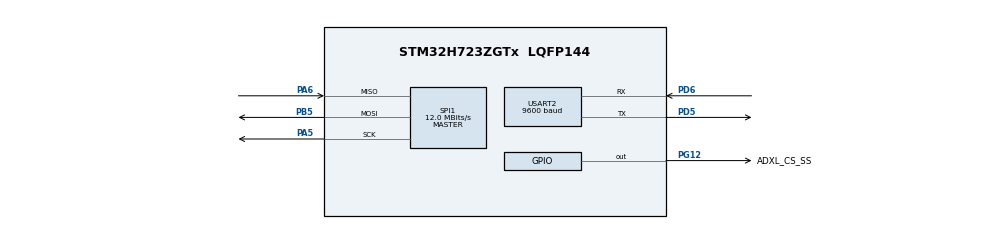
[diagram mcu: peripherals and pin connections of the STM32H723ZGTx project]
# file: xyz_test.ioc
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CORTEX_M7.default_mode_Activation=1
Mcu.Family=STM32H7
Mcu.Name=STM32H723ZGTx
Mcu.Package=LQFP144
NUCLEO-H723ZG.BUTTON=1
NUCLEO-H723ZG.LD1=true
NUCLEO-H723ZG.LD2=true
NUCLEO-H723ZG.LD3=true
NUCLEO-H723ZG.VCP=true
NVIC.EXTI15_10_IRQn=true\:0\:0\:false\:false\:true\:false\:true\:true
NVIC.PriorityGroup=NVIC_PRIORITYGROUP_4
PA13(JTMS/SWDIO).GPIO_Label=SWDIO
PA13(JTMS/SWDIO).Signal=DEBUG_JTMS-SWDIO
PA14(JTCK/SWCLK).GPIO_Label=SWCLK
PA14(JTCK/SWCLK).Signal=DEBUG_JTCK-SWCLK
PA5.Mode=Full_Duplex_Master
PA5.Signal=SPI1_SCK
PA6.Mode=Full_Duplex_Master
PA6.Signal=SPI1_MISO
PB5.Mode=Full_Duplex_Master
PB5.Signal=SPI1_MOSI
PC14-OSC32_IN.Signal=RCC_OSC32_IN
PC15-OSC32_OUT.Signal=RCC_OSC32_OUT
PD5.Mode=Asynchronous
PD5.Signal=USART2_TX
PD6.Mode=Asynchronous
PD6.Signal=USART2_RX
PD8.Signal=USART3_TX
PD9.Signal=USART3_RX
PG12.GPIO_Label=ADXL_CS_SS
PG12.PinState=GPIO_PIN_SET
PG12.Signal=GPIO_Output
ProjectManager.HeapSize=0x200
ProjectManager.StackSize=0x400
ProjectManager.TargetToolchain=CMake
RCC.ADCFreq_Value=608000000
RCC.APB1Freq_Value=48000000
RCC.APB2Freq_Value=48000000
RCC.APB3Freq_Value=48000000
RCC.APB4Freq_Value=48000000
RCC.CortexFreq_Value=192000000
RCC.D1PPRE=RCC_APB3_DIV2
RCC.D2PPRE1=RCC_APB1_DIV2
RCC.D2PPRE2=RCC_APB2_DIV2
RCC.D3PPRE=RCC_APB4_DIV2
RCC.DIVM1=4
RCC.DIVM2=1
RCC.DIVN1=12
RCC.DIVN2=19
RCC.DIVP1=1
RCC.DIVQ1=4
RCC.HCLKFreq_Value=96000000
RCC.HPRE=RCC_HCLK_DIV2
RCC.HSE_VALUE=8000000
RCC.PLLFRACN=0
RCC.SYSCLKFreq_VALUE=192000000
RCC.SYSCLKSource=RCC_SYSCLKSOURCE_PLLCLK
RCC.USBCLockSelection=RCC_USBCLKSOURCE_HSI48
RCC.USBFreq_Value=48000000
SPI1.BaudRatePrescaler=SPI_BAUDRATEPRESCALER_4
SPI1.CalculateBaudRate=12.0 MBits/s
SPI1.DataSize=SPI_DATASIZE_8BIT
SPI1.Direction=SPI_DIRECTION_2LINES
SPI1.Mode=SPI_MODE_MASTER
SPI1.VirtualType=VM_MASTER
USART2.BaudRate=9600
USART2.VirtualMode-Asynchronous=VM_ASYNC
VP_MEMORYMAP_VS_MEMORYMAP.Mode=CurAppReg
VP_NUCLEO-H723ZG_VS_BSP_COMMON.Mode=COMMON
board=NUCLEO-H723ZG

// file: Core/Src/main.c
/* USER CODE BEGIN Header */
/**
 ******************************************************************************
 * @file           : main.c
 * @brief          : Main program body
 ******************************************************************************
 * @attention
 *
 * Copyright (c) 2026 STMicroelectronics.
 * All rights reserved.
 *
 * This software is licensed under terms that can be found in the LICENSE file
 * in the root directory of this software component.
 * If no LICENSE file comes with this software, it is provided AS-IS.
 *
 ******************************************************************************
 */
/* USER CODE END Header */
#include "main.h"

COM_InitTypeDef BspCOMInit;

SPI_HandleTypeDef hspi1;

UART_HandleTypeDef huart2;

void
SystemClock_Config(void);
static void
MPU_Config(void);
static void
MX_GPIO_Init(void);
static void
MX_SPI1_Init(void);
static void
MX_USART2_UART_Init(void);

/* USER CODE BEGIN 0 */
#ifdef USE_STM32H7XX_NUCLEO
#define ACC_INIT_SUCCESS() BSP_LED_Toggle(LED_YELLOW);
#define ACC_INIT_FAILURE() BSP_LED_Toggle(LED_RED);
#endif

/// The ADXL355 captures data in LSB/g.
/// To turn this into a properly usable unit we have to take some steps.
/// 1. We calculate the full range of values.
/// To do this we obtain the maximum LSB value: 2 ^ n-1, where n is
/// the amount of bits in the ADC, the ADXL355 has a 20-bit ADC, thus
/// 2^19 is our LSB.
/// Then we obtain our range of g, since we use ±2g,
/// our range of possible values is 2g since data provided by
/// ADXL355 is already in twos complement.
/// We do 2^19 LSB / 2g which gives 262,144 LSB/g.
/// 2. Convert the captured raw data (LSB) to g.
/// This step is done by dividing a raw value with the full range value.
/// e.g. -245000 LSB / 262144 LSB/g = -0.935 g.
/// Please note that the sign comes from the fact that the raw data
/// is in twos complement.
///
/// If you grab this full range value 262,144 LSB/g, which is our "sensitivity value"
/// which we will call w from now, and you do 1/w, you get the sensitivity value
/// found in the data sheet, but but but, now that we know where it comes from, we
/// are better off using the sensitivity value 3.9 𝝁g/LSB,
/// which we will call sm, the m for the manufacturer.
/// data ⋅ sm is better than data / w for efficiency.
/// In fact, I would advice against doing these corrections at the MCU level,
/// and focus on doing them after retrieval or at the broker.

/// Status register bit flags
/// x, y and z axes measurements are ready and can be read.
#define ADXL_FLAG_DATA_RDY    0x01
/// The FIFO is full, this value can be set
#define ADXL_FLAG_FIFO_FULL   0x02
#define ADXL_FLAG_FIFO_OVR    0x04
#define ADXL_FLAG_ACTIVITY    0x08

#define ADXL_WRITE            0x00
#define ADXL_READ             0x01
/// Contains the Analog Devices ID - RO - Returns 0xAD
#define ADXL_REG_DEVID        0x00
/// Status register, uses bit flags to describe different states - RO
#define ADXL_REG_STATUS       0x04
/// Number of data samples in the FIFO buffer - RO
#define ADXL_REG_FIFO_ENTRIES 0x05
/// Data stored in the FIFO lives here - RO
#define ADXL_REG_FIFO_DATA    0x11
/// Stores the number of values the FIFO can hold - RW - Defaults to 0x60 (96)
#define ADXL_REG_FIFO_SAMPLES 0x29
/// Allows toggling different power modes of the ADXL355 - RW
#define ADXL_REG_POWER_CTL    0x2D
/// Used to change some settings on the 355 - RW
#define ADXL_REG_RANGE        0x2C
void
adxl355_read(SPI_HandleTypeDef* spi,
             const uint8_t      reg,
             uint8_t*           data,
             uint16_t           size)
{
    uint8_t reg_op[1] = {(reg << 1) | ADXL_READ};
    HAL_GPIO_WritePin(ADXL_CS_SS_GPIO_Port, ADXL_CS_SS_Pin, GPIO_PIN_RESET);
    HAL_SPI_Transmit(spi, reg_op, size, HAL_MAX_DELAY);
    HAL_SPI_Receive(spi, data, size, HAL_MAX_DELAY);
    HAL_GPIO_WritePin(ADXL_CS_SS_GPIO_Port, ADXL_CS_SS_Pin, GPIO_PIN_SET);
}
void
adxl355_write(SPI_HandleTypeDef* spi,
              const uint8_t      reg,
              const uint8_t      data,
              uint16_t           size)
{
    uint8_t reg_opd[2];
    reg_opd[0] = (reg << 1) | ADXL_WRITE;
    reg_opd[1] = data;
    HAL_GPIO_WritePin(ADXL_CS_SS_GPIO_Port, ADXL_CS_SS_Pin, GPIO_PIN_RESET);
    HAL_SPI_Transmit(spi, reg_opd, 2, HAL_MAX_DELAY);
    HAL_GPIO_WritePin(ADXL_CS_SS_GPIO_Port, ADXL_CS_SS_Pin, GPIO_PIN_SET);
}
void
adxl355_fifo_read(SPI_HandleTypeDef* spi,
                  uint8_t*           x_data,
                  uint8_t*           y_data,
                  uint8_t*           z_data)
{
    uint8_t r = (ADXL_REG_FIFO_DATA << 1) | ADXL_READ;
    HAL_GPIO_WritePin(ADXL_CS_SS_GPIO_Port, ADXL_CS_SS_Pin, GPIO_PIN_RESET);
    HAL_SPI_Transmit(spi, &r, 1, HAL_MAX_DELAY);
    HAL_SPI_Receive(spi, x_data, 3, HAL_MAX_DELAY);
    HAL_SPI_Receive(spi, y_data, 3, HAL_MAX_DELAY);
    HAL_SPI_Receive(spi, z_data, 3, HAL_MAX_DELAY);
    HAL_GPIO_WritePin(ADXL_CS_SS_GPIO_Port, ADXL_CS_SS_Pin, GPIO_PIN_SET);
}
void
adxl355_init()
{
    uint8_t r          = 0;
    uint8_t range_bits = 0xFF;
    uint8_t power_bits = 0xFF;
    adxl355_read(&hspi1, ADXL_REG_DEVID, &r, 1);
    adxl355_read(&hspi1, ADXL_REG_RANGE, &range_bits, 1);
    adxl355_read(&hspi1, ADXL_REG_POWER_CTL, &power_bits, 1);
    if (range_bits != 0x01)
    {
        adxl355_write(&hspi1, ADXL_REG_RANGE, 0x01, 1);
    }
    // The last bit needs to be 0 to stop standby mode
    if ((power_bits & 0x01) != 0x00)
    {
        adxl355_write(&hspi1, ADXL_REG_POWER_CTL, power_bits & 0xFE, 1);
    }
    // TODO: Add the range to init
    if (r == 0xAD)
    {
        ACC_INIT_SUCCESS();
    }
    else
    {
        ACC_INIT_FAILURE();
    }
}
/* USER CODE END 0 */

int
main(void)
{

    /* MPU Configuration--------------------------------------------------------*/
    MPU_Config();

    /* MCU Configuration--------------------------------------------------------*/

    /* Reset of all peripherals, Initializes the Flash interface and the Systick. */
    HAL_Init();

    /* Configure the system clock */
    SystemClock_Config();

    /* Initialize all configured peripherals */
    MX_GPIO_Init();
    MX_SPI1_Init();
    MX_USART2_UART_Init();

    /* Initialize leds */
    BSP_LED_Init(LED_GREEN);
    BSP_LED_Init(LED_YELLOW);
    BSP_LED_Init(LED_RED);

    /* Initialize USER push-button, will be used to trigger an interrupt each time it's
     * pressed.*/
    BSP_PB_Init(BUTTON_USER, BUTTON_MODE_EXTI);

    /* Initialize COM1 port (115200, 8 bits (7-bit data + 1 stop bit), no parity */
    BspCOMInit.BaudRate   = 115200;
    BspCOMInit.WordLength = COM_WORDLENGTH_8B;
    BspCOMInit.StopBits   = COM_STOPBITS_1;
    BspCOMInit.Parity     = COM_PARITY_NONE;
    BspCOMInit.HwFlowCtl  = COM_HWCONTROL_NONE;
    if (BSP_COM_Init(COM1, &BspCOMInit) != BSP_ERROR_NONE)
    {
        Error_Handler();
    }

    /* Infinite loop */
    /* USER CODE BEGIN WHILE */
    adxl355_init();
    uint8_t stat;
    uint8_t x[3];
    uint8_t y[3];
    uint8_t z[3];

    // SECTION: GPS
    uint8_t gps_rx[82];
    uint8_t gps_tx[14] = {'$', 'P', 'C', 'A', 'S', '0',  '1',
                          ',', '5', '*', '1', '9', '\r', '\n'};
    HAL_UART_Transmit(&huart2, gps_tx, 14, HAL_MAX_DELAY);
    while (1)
    {
        adxl355_read(&hspi1, ADXL_REG_STATUS, &stat, 1);
        // Fifo is full
        if (stat & ADXL_FLAG_FIFO_FULL)
        {
            adxl355_fifo_read(&hspi1, x, y, z);
        }
        HAL_UART_Receive(&huart2, gps_rx, 82, 10000);
        __NOP();
        // TODO: order the data read from fifo
        // THINK: We might need to consider DMA
        // TODO: Implement Ethernet interface
        /* USER CODE END WHILE */

    }
}

void
SystemClock_Config(void)
{
    RCC_OscInitTypeDef RCC_OscInitStruct = {0};
    RCC_ClkInitTypeDef RCC_ClkInitStruct = {0};

    /** Supply configuration update enable
     */
    HAL_PWREx_ConfigSupply(PWR_LDO_SUPPLY);

    /** Configure the main internal regulator output voltage
     */
    __HAL_PWR_VOLTAGESCALING_CONFIG(PWR_REGULATOR_VOLTAGE_SCALE2);

    while (!__HAL_PWR_GET_FLAG(PWR_FLAG_VOSRDY))
    {
    }

    /** Initializes the RCC Oscillators according to the specified parameters
     * in the RCC_OscInitTypeDef structure.
     */
    RCC_OscInitStruct.OscillatorType      = RCC_OSCILLATORTYPE_HSI;
    RCC_OscInitStruct.HSIState            = RCC_HSI_DIV1;
    RCC_OscInitStruct.HSICalibrationValue = 64;
    RCC_OscInitStruct.PLL.PLLState        = RCC_PLL_ON;
    RCC_OscInitStruct.PLL.PLLSource       = RCC_PLLSOURCE_HSI;
    RCC_OscInitStruct.PLL.PLLM            = 4;
    RCC_OscInitStruct.PLL.PLLN            = 12;
    RCC_OscInitStruct.PLL.PLLP            = 1;
    RCC_OscInitStruct.PLL.PLLQ            = 4;
    RCC_OscInitStruct.PLL.PLLR            = 2;
    RCC_OscInitStruct.PLL.PLLRGE          = RCC_PLL1VCIRANGE_3;
    RCC_OscInitStruct.PLL.PLLVCOSEL       = RCC_PLL1VCOWIDE;
    RCC_OscInitStruct.PLL.PLLFRACN        = 0;
    if (HAL_RCC_OscConfig(&RCC_OscInitStruct) != HAL_OK)
    {
        Error_Handler();
    }

    /** Initializes the CPU, AHB and APB buses clocks
     */
    RCC_ClkInitStruct.ClockType = RCC_CLOCKTYPE_HCLK | RCC_CLOCKTYPE_SYSCLK |
                                  RCC_CLOCKTYPE_PCLK1 | RCC_CLOCKTYPE_PCLK2 |
                                  RCC_CLOCKTYPE_D3PCLK1 | RCC_CLOCKTYPE_D1PCLK1;
    RCC_ClkInitStruct.SYSCLKSource   = RCC_SYSCLKSOURCE_PLLCLK;
    RCC_ClkInitStruct.SYSCLKDivider  = RCC_SYSCLK_DIV1;
    RCC_ClkInitStruct.AHBCLKDivider  = RCC_HCLK_DIV2;
    RCC_ClkInitStruct.APB3CLKDivider = RCC_APB3_DIV2;
    RCC_ClkInitStruct.APB1CLKDivider = RCC_APB1_DIV2;
    RCC_ClkInitStruct.APB2CLKDivider = RCC_APB2_DIV2;
    RCC_ClkInitStruct.APB4CLKDivider = RCC_APB4_DIV2;

    if (HAL_RCC_ClockConfig(&RCC_ClkInitStruct, FLASH_LATENCY_1) != HAL_OK)
    {
        Error_Handler();
    }
}

static void
MX_SPI1_Init(void)
{

    /* SPI1 parameter configuration*/
    hspi1.Instance                        = SPI1;
    hspi1.Init.Mode                       = SPI_MODE_MASTER;
    hspi1.Init.Direction                  = SPI_DIRECTION_2LINES;
    hspi1.Init.DataSize                   = SPI_DATASIZE_8BIT;
    hspi1.Init.CLKPolarity                = SPI_POLARITY_LOW;
    hspi1.Init.CLKPhase                   = SPI_PHASE_1EDGE;
    hspi1.Init.NSS                        = SPI_NSS_SOFT;
    hspi1.Init.BaudRatePrescaler          = SPI_BAUDRATEPRESCALER_4;
    hspi1.Init.FirstBit                   = SPI_FIRSTBIT_MSB;
    hspi1.Init.TIMode                     = SPI_TIMODE_DISABLE;
    hspi1.Init.CRCCalculation             = SPI_CRCCALCULATION_DISABLE;
    hspi1.Init.CRCPolynomial              = 0x0;
    hspi1.Init.NSSPMode                   = SPI_NSS_PULSE_ENABLE;
    hspi1.Init.NSSPolarity                = SPI_NSS_POLARITY_LOW;
    hspi1.Init.FifoThreshold              = SPI_FIFO_THRESHOLD_01DATA;
    hspi1.Init.TxCRCInitializationPattern = SPI_CRC_INITIALIZATION_ALL_ZERO_PATTERN;
    hspi1.Init.RxCRCInitializationPattern = SPI_CRC_INITIALIZATION_ALL_ZERO_PATTERN;
    hspi1.Init.MasterSSIdleness           = SPI_MASTER_SS_IDLENESS_00CYCLE;
    hspi1.Init.MasterInterDataIdleness    = SPI_MASTER_INTERDATA_IDLENESS_00CYCLE;
    hspi1.Init.MasterReceiverAutoSusp     = SPI_MASTER_RX_AUTOSUSP_DISABLE;
    hspi1.Init.MasterKeepIOState          = SPI_MASTER_KEEP_IO_STATE_DISABLE;
    hspi1.Init.IOSwap                     = SPI_IO_SWAP_DISABLE;
    if (HAL_SPI_Init(&hspi1) != HAL_OK)
    {
        Error_Handler();
    }
}

static void
MX_USART2_UART_Init(void)
{

    huart2.Instance                    = USART2;
    huart2.Init.BaudRate               = 9600;
    huart2.Init.WordLength             = UART_WORDLENGTH_8B;
    huart2.Init.StopBits               = UART_STOPBITS_1;
    huart2.Init.Parity                 = UART_PARITY_NONE;
    huart2.Init.Mode                   = UART_MODE_TX_RX;
    huart2.Init.HwFlowCtl              = UART_HWCONTROL_NONE;
    huart2.Init.OverSampling           = UART_OVERSAMPLING_16;
    huart2.Init.OneBitSampling         = UART_ONE_BIT_SAMPLE_DISABLE;
    huart2.Init.ClockPrescaler         = UART_PRESCALER_DIV1;
    huart2.AdvancedInit.AdvFeatureInit = UART_ADVFEATURE_NO_INIT;
    if (HAL_UART_Init(&huart2) != HAL_OK)
    {
        Error_Handler();
    }
    if (HAL_UARTEx_SetTxFifoThreshold(&huart2, UART_TXFIFO_THRESHOLD_1_8) != HAL_OK)
    {
        Error_Handler();
    }
    if (HAL_UARTEx_SetRxFifoThreshold(&huart2, UART_RXFIFO_THRESHOLD_1_8) != HAL_OK)
    {
        Error_Handler();
    }
    if (HAL_UARTEx_DisableFifoMode(&huart2) != HAL_OK)
    {
        Error_Handler();
    }
}

static void
MX_GPIO_Init(void)
{
    GPIO_InitTypeDef GPIO_InitStruct = {0};

    /* GPIO Ports Clock Enable */
    __HAL_RCC_GPIOC_CLK_ENABLE();
    __HAL_RCC_GPIOA_CLK_ENABLE();
    __HAL_RCC_GPIOD_CLK_ENABLE();
    __HAL_RCC_GPIOG_CLK_ENABLE();
    __HAL_RCC_GPIOB_CLK_ENABLE();

    /*Configure GPIO pin Output Level */
    HAL_GPIO_WritePin(ADXL_CS_SS_GPIO_Port, ADXL_CS_SS_Pin, GPIO_PIN_SET);

    /*Configure GPIO pin : ADXL_CS_SS_Pin */
    GPIO_InitStruct.Pin   = ADXL_CS_SS_Pin;
    GPIO_InitStruct.Mode  = GPIO_MODE_OUTPUT_PP;
    GPIO_InitStruct.Pull  = GPIO_NOPULL;
    GPIO_InitStruct.Speed = GPIO_SPEED_FREQ_LOW;
    HAL_GPIO_Init(ADXL_CS_SS_GPIO_Port, &GPIO_InitStruct);

}

/* MPU Configuration */

void
MPU_Config(void)
{
    MPU_Region_InitTypeDef MPU_InitStruct = {0};

    /* Disables the MPU */
    HAL_MPU_Disable();

    /** Initializes and configures the Region and the memory to be protected
     */
    MPU_InitStruct.Enable           = MPU_REGION_ENABLE;
    MPU_InitStruct.Number           = MPU_REGION_NUMBER0;
    MPU_InitStruct.BaseAddress      = 0x0;
    MPU_InitStruct.Size             = MPU_REGION_SIZE_4GB;
    MPU_InitStruct.SubRegionDisable = 0x87;
    MPU_InitStruct.TypeExtField     = MPU_TEX_LEVEL0;
    MPU_InitStruct.AccessPermission = MPU_REGION_NO_ACCESS;
    MPU_InitStruct.DisableExec      = MPU_INSTRUCTION_ACCESS_DISABLE;
    MPU_InitStruct.IsShareable      = MPU_ACCESS_SHAREABLE;
    MPU_InitStruct.IsCacheable      = MPU_ACCESS_NOT_CACHEABLE;
    MPU_InitStruct.IsBufferable     = MPU_ACCESS_NOT_BUFFERABLE;

    HAL_MPU_ConfigRegion(&MPU_InitStruct);
    /* Enables the MPU */
    HAL_MPU_Enable(MPU_PRIVILEGED_DEFAULT);
}

void
Error_Handler(void)
{
    __disable_irq();
    while (1)
    {
    }
}
